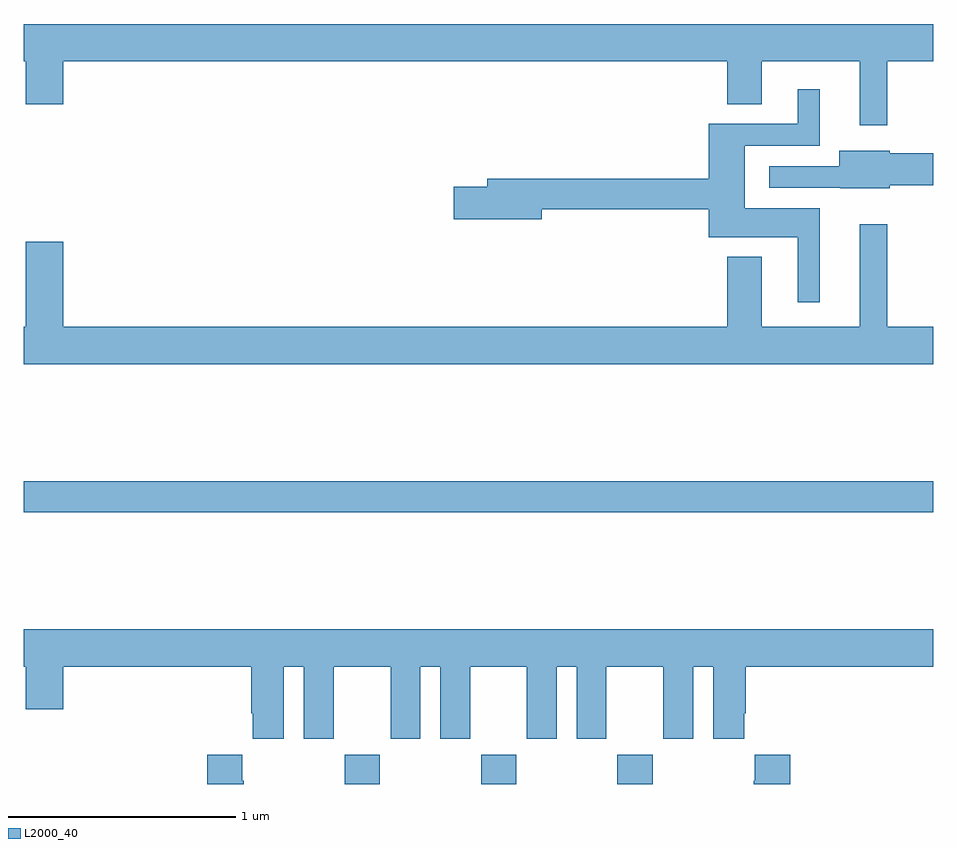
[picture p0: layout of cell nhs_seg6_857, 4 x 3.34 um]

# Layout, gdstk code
import gdstk
lib = gdstk.Library(unit=1e-6, precision=1e-09)
def R(c, l, rs):  # rectangles x0, y0, x1, y1
    for r in rs: c.add(gdstk.rectangle(r[:2], r[2:], *l))
def A(c, l, x, y, w, h, nx, ny, dx, dy):  # array of equal rectangles
    R(c, l, [(x+i*dx, y+j*dy, x+i*dx+w, y+j*dy+h) for i in range(nx) for j in range(ny)])
def P(c, l, *ps):  # polygons
    for p in ps: c.add(gdstk.Polygon(p, *l))
L2000_40 = (2000, 40)

nhs_seg6_857 = lib.new_cell('nhs_seg6_857')
A(nhs_seg6_857, L2000_40, 166.411, 933.5, 0.155, 0.128, 3, 1, 0.6, 0)
R(nhs_seg6_857, L2000_40, [(165,934.696,169,934.832)])
P(nhs_seg6_857, L2000_40, [(168.799,936.68),(169,936.68),(169,936.844),(165,936.844),(165,936.68),(165.008,936.68),(165.008,936.492),(165.172,936.492),(165.172,936.68),(168.095,936.68),(168.095,936.49),(168.247,936.49),(168.247,936.68),(168.677,936.68),(168.677,936.399),(168.799,936.399)],
  [(168.502,936.034),(168.172,936.034),(168.172,936.309),(168.502,936.309),(168.502,936.556),(168.404,936.556),(168.404,936.405),(168.014,936.405),(168.014,936.164),(167.039,936.164),(167.039,936.128),(166.89,936.128),(166.89,935.986),(167.278,935.986),(167.278,936.028),(168.014,936.028),(168.014,935.906),(168.404,935.906),(168.404,935.619),(168.502,935.619)],
  [(168.81,936.134),(169,936.134),(169,936.276),(168.81,936.276),(168.81,936.286),(168.587,936.286),(168.587,936.219),(168.279,936.219),(168.279,936.123),(168.591,936.123),(168.591,936.122),(168.81,936.122)],
  [(169,935.512),(168.799,935.512),(168.799,935.962),(168.677,935.962),(168.677,935.512),(168.247,935.512),(168.247,935.821),(168.095,935.821),(168.095,935.512),(165.172,935.512),(165.172,935.887),(165.008,935.887),(165.008,935.512),(165,935.512),(165,935.348),(169,935.348)],
  [(166.144,934.016),(166.232,934.016),(166.232,933.699),(166.363,933.699),(166.363,934.016),(166.613,934.016),(166.613,933.699),(166.744,933.699),(166.744,934.016),(166.832,934.016),(166.832,933.699),(166.963,933.699),(166.963,934.016),(167.213,934.016),(167.213,933.699),(167.344,933.699),(167.344,934.016),(167.432,934.016),(167.432,933.699),(167.563,933.699),(167.563,934.016),(167.813,934.016),(167.813,933.699),(167.944,933.699),(167.944,934.016),(168.032,934.016),(168.032,933.699),(168.169,933.699),(168.169,933.811),(168.176,933.811),(168.176,934.016),(169,934.016),(169,934.18),(165,934.18),(165,934.016),(165.008,934.016),(165.008,933.828),(165.172,933.828),(165.172,934.016),(166.001,934.016),(166.001,933.811),(166.007,933.811),(166.007,933.699),(166.144,933.699)],
  [(168.371,933.628),(168.215,933.628),(168.215,933.515),(168.211,933.515),(168.211,933.5),(168.371,933.5)],
  [(165.966,933.515),(165.961,933.515),(165.961,933.628),(165.806,933.628),(165.806,933.5),(165.966,933.5)])

lib.write_gds('nhs_seg6_857.gds')
